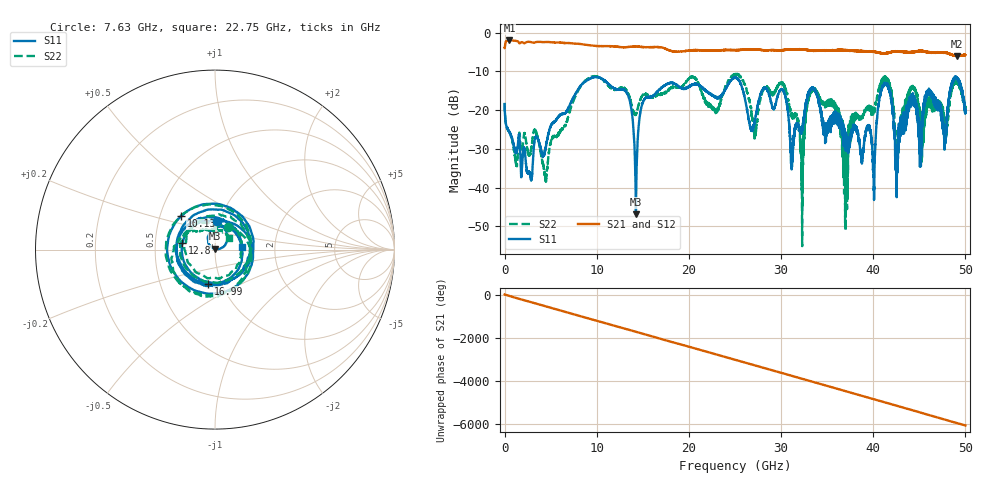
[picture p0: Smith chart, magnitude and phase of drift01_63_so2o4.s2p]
!Created with skrf (http://scikit-rf.org).
# Hz S RI R 50.0
!freq ReS11 ImS11 ReS21 ImS21 ReS12 ImS12 ReS22 ImS22
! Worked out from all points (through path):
!   10001 points, 300 kHz to 50 GHz, reference 50 ohm
!   highest |S21| = -2.00 dB at 520.3 MHz (marker M1); lowest = -6.0 dB at 49.05 GHz (marker M2)
!   group delay of S21, straight-line fit = 336 ps
!   lowest |S11| = -46.9 dB at 14.25 GHz (marker M3), VSWR 1.01, Z = 50.1 + j0.447 ohm
!   |S11| at or under -10 dB: start of sweep to end of sweep
!   |S22| runs from -55.2 to -10.6 dB; largest |S21 - S12| = 0.02
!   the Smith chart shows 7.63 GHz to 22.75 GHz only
!   S11 on the Smith chart (normalised r, x): 7.63 GHz: 0.98, +0.31; 10.13 GHz: 0.64, +0.26; 12.8 GHz: 0.69, +0.06; 16.99 GHz: 0.86, -0.34; 22.75 GHz: 1.35, +0.04
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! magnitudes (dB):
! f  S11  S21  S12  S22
! 300 kHz  -18.5  -4.0  -4.0  -18.1
! 520.3 MHz  -25.7  -2.0  -2.0  -25.6
! 4.435 GHz  -29.9  -2.4  -2.4  -37.6
! 7.63 GHz  -16.1  -2.8  -2.8  -16.6
! 8.335 GHz  -13.5  -3.0  -2.9  -13.5
! 10.13 GHz  -11.5  -3.5  -3.4  -11.4
! 12.8 GHz  -14.6  -3.7  -3.7  -14.3
! 14.25 GHz  -46.9  -3.6  -3.6  -21.1
! 16.67 GHz  -15.0  -3.7  -3.7  -15.9
! 16.99 GHz  -14.3  -3.8  -3.8  -15.8
! 22.75 GHz  -16.5  -4.6  -4.6  -20.2
! 25 GHz  -11.5  -4.5  -4.5  -10.9
! 27.17 GHz  -22.5  -4.3  -4.3  -26.0
! 30.22 GHz  -14.9  -4.5  -4.5  -13.4
! 32.27 GHz  -25.4  -4.4  -4.3  -41.1
! 33.34 GHz  -14.2  -4.6  -4.6  -14.8
! 36.99 GHz  -27.5  -4.5  -4.6  -38.3
! 40.05 GHz  -38.3  -4.9  -4.9  -19.9
! 41.67 GHz  -13.9  -5.1  -5.1  -13.0
! 42.6 GHz  -31.6  -4.8  -4.9  -30.8
! 49.05 GHz  -11.7  -6.0  -6.0  -12.7
! 50 GHz  -20.0  -5.8  -5.8  -19.4
